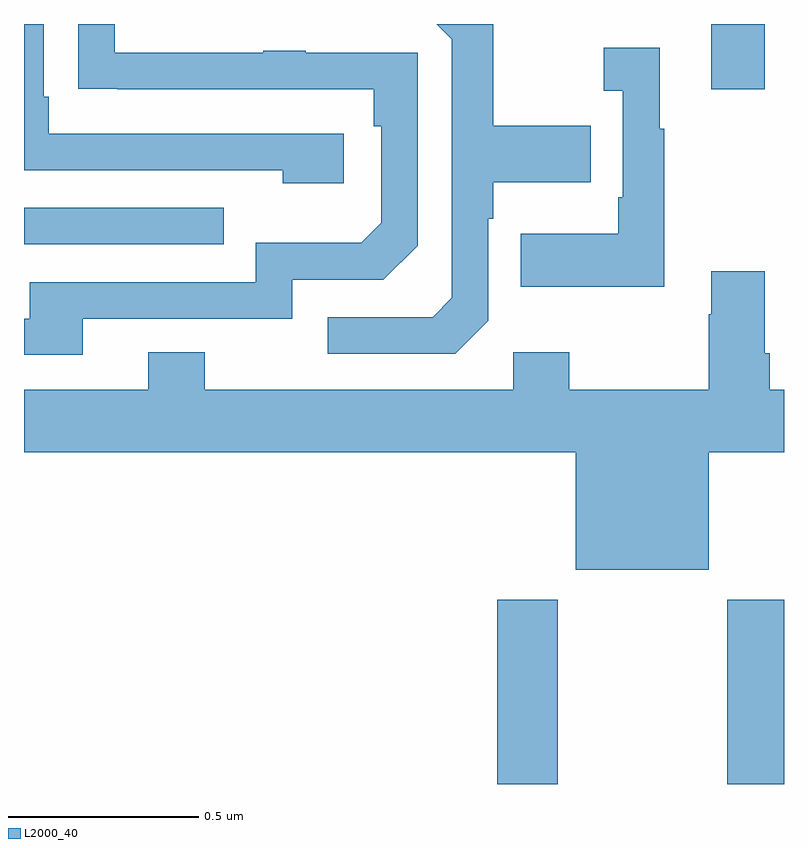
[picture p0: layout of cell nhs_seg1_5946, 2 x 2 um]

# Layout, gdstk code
import gdstk
lib = gdstk.Library(unit=1e-6, precision=1e-09)
def R(c, l, rs):  # rectangles x0, y0, x1, y1
    for r in rs: c.add(gdstk.rectangle(r[:2], r[2:], *l))
def P(c, l, *ps):  # polygons
    for p in ps: c.add(gdstk.Polygon(p, *l))
L2000_40 = (2000, 40)

nhs_seg1_5946 = lib.new_cell('nhs_seg1_5946')
R(nhs_seg1_5946, L2000_40, [(186.245,544.199,186.405,544.684), (186.85,544.199,187,544.684), (185,545.619,185.525,545.715), (186.809,546.027,186.949,546.199)])
P(nhs_seg1_5946, L2000_40, [(185.842,545.91),(185.065,545.91),(185.065,546.007),(185.052,546.007),(185.052,546.199),(185,546.199),(185,545.814),(185.681,545.814),(185.681,545.78),(185.842,545.78)],
  [(185.155,545.424),(185.706,545.424),(185.706,545.526),(185.946,545.526),(186.036,545.616),(186.036,546.123),(185.741,546.123),(185.741,546.128),(185.629,546.128),(185.629,546.123),(185.239,546.123),(185.239,546.199),(185.143,546.199),(185.143,546.028),(185.245,546.028),(185.245,546.027),(185.92,546.027),(185.92,545.93),(185.94,545.93),(185.94,545.676),(185.887,545.623),(185.61,545.623),(185.61,545.52),(185.015,545.52),(185.015,545.424),(185,545.424),(185,545.328),(185.155,545.328)],
  [(186.222,545.418),(186.222,545.687),(186.235,545.687),(186.235,545.783),(186.491,545.783),(186.491,545.931),(186.235,545.931),(186.235,546.199),(186.086,546.199),(186.126,546.159),(186.126,545.478),(186.075,545.427),(185.799,545.427),(185.799,545.331),(186.135,545.331)],
  [(186.685,545.923),(186.673,545.923),(186.673,546.136),(186.525,546.136),(186.525,546.023),(186.576,546.023),(186.576,545.743),(186.564,545.743),(186.564,545.647),(186.307,545.647),(186.307,545.507),(186.685,545.507)],
  [(186.802,545.072),(187,545.072),(187,545.236),(186.962,545.236),(186.962,545.332),(186.949,545.332),(186.949,545.548),(186.809,545.548),(186.809,545.435),(186.802,545.435),(186.802,545.236),(186.435,545.236),(186.435,545.335),(186.288,545.335),(186.288,545.236),(185.475,545.236),(185.475,545.335),(185.327,545.335),(185.327,545.236),(185,545.236),(185,545.072),(186.452,545.072),(186.452,544.763),(186.802,544.763)])

lib.write_gds('nhs_seg1_5946.gds')
